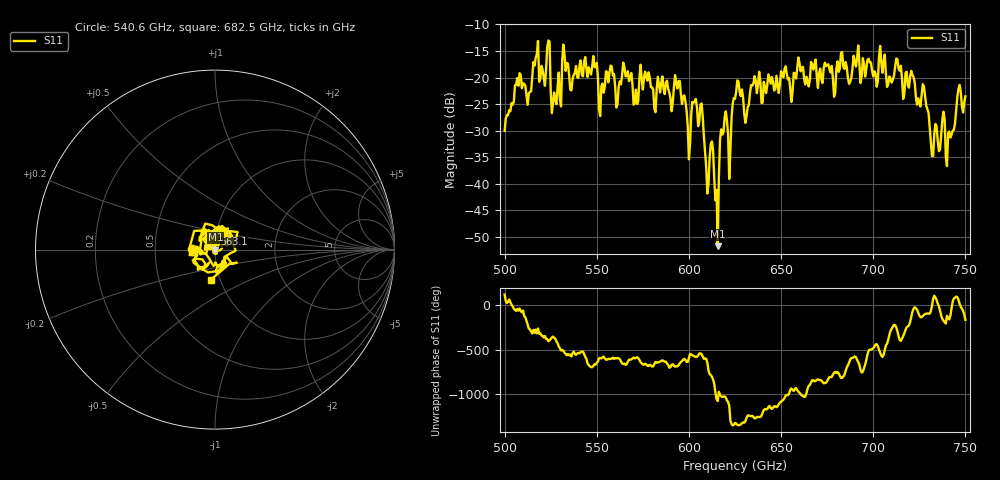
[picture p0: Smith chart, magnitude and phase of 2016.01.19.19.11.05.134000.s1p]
!Created with skrf (http://scikit-rf.org).
# GHz S RI R 50.0
!freq ReS11 ImS11
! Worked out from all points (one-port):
!   401 points, 500 GHz to 750 GHz, reference 50 ohm
!   lowest |S11| = -51.7 dB at 615.6 GHz (marker M1), VSWR 1.01, Z = 50.3 + j0.0215 ohm
!   |S11| at or under -10 dB: start of sweep to end of sweep
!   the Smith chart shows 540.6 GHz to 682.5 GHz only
!   S11 on the Smith chart (normalised r, x): 540.6 GHz: 0.77, +0.00; 563.1 GHz: 0.98, +0.17; 682.5 GHz: 0.90, -0.31
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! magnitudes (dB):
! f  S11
! 500 GHz  -30.0
! 507.5 GHz  -21.6
! 513.1 GHz  -23.0
! 516.9 GHz  -16.3
! 523.8 GHz  -13.0
! 526.9 GHz  -22.8
! 531.2 GHz  -16.8
! 540.6 GHz  -17.7
! 562.5 GHz  -20.7
! 563.1 GHz  -21.3
! 593.8 GHz  -22.0
! 600 GHz  -35.4
! 606.9 GHz  -24.9
! 609.4 GHz  -36.8
! 612.5 GHz  -32.0
! 615.6 GHz  -51.7
! 618.1 GHz  -30.7
! 621.9 GHz  -39.1
! 625 GHz  -24.0
! 656.2 GHz  -22.6
! 682.5 GHz  -15.4
! 687.5 GHz  -20.8
! 718.8 GHz  -21.4
! 728.1 GHz  -23.6
! 731.9 GHz  -34.8
! 740.6 GHz  -30.4
! 746.2 GHz  -22.1
! 750 GHz  -23.5
